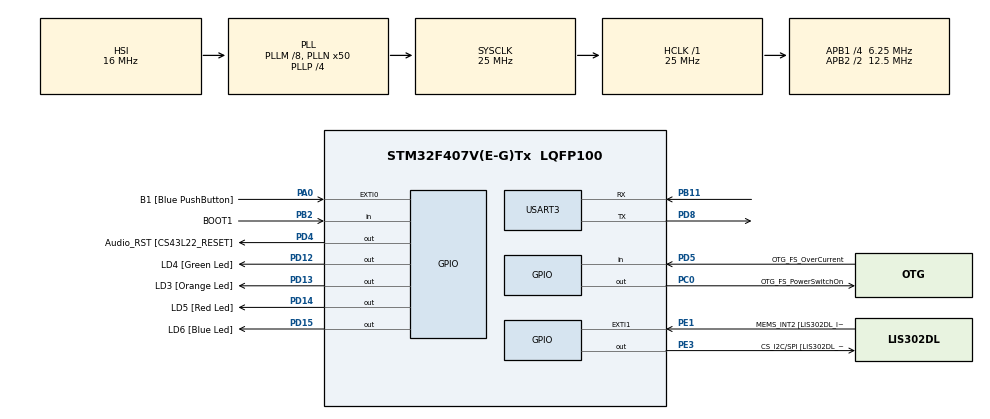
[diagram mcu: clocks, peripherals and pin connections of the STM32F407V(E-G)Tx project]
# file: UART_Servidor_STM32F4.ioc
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Dma.Request0=USART3_RX
Dma.Request1=USART3_TX
Dma.USART3_RX.0.Direction=DMA_PERIPH_TO_MEMORY
Dma.USART3_RX.0.FIFOMode=DMA_FIFOMODE_DISABLE
Dma.USART3_RX.0.Instance=DMA1_Stream1
Dma.USART3_RX.0.MemDataAlignment=DMA_MDATAALIGN_BYTE
Dma.USART3_RX.0.MemInc=DMA_MINC_ENABLE
Dma.USART3_RX.0.Mode=DMA_NORMAL
Dma.USART3_RX.0.PeriphDataAlignment=DMA_PDATAALIGN_BYTE
Dma.USART3_RX.0.PeriphInc=DMA_PINC_DISABLE
Dma.USART3_RX.0.Priority=DMA_PRIORITY_LOW
Dma.USART3_TX.1.Direction=DMA_MEMORY_TO_PERIPH
Dma.USART3_TX.1.FIFOMode=DMA_FIFOMODE_DISABLE
Dma.USART3_TX.1.Instance=DMA1_Stream3
Dma.USART3_TX.1.MemDataAlignment=DMA_MDATAALIGN_BYTE
Dma.USART3_TX.1.MemInc=DMA_MINC_ENABLE
Dma.USART3_TX.1.Mode=DMA_NORMAL
Dma.USART3_TX.1.PeriphDataAlignment=DMA_PDATAALIGN_BYTE
Dma.USART3_TX.1.PeriphInc=DMA_PINC_DISABLE
Dma.USART3_TX.1.Priority=DMA_PRIORITY_LOW
Mcu.Family=STM32F4
Mcu.Name=STM32F407V(E-G)Tx
Mcu.Package=LQFP100
NVIC.DMA1_Stream1_IRQn=true\:0\:0\:false\:false\:true\:false\:true\:true
NVIC.DMA1_Stream3_IRQn=true\:0\:0\:false\:false\:true\:false\:true\:true
NVIC.EXTI0_IRQn=true\:0\:0\:false\:false\:true\:true\:true\:true
NVIC.PriorityGroup=NVIC_PRIORITYGROUP_0
NVIC.USART3_IRQn=true\:0\:0\:false\:false\:true\:true\:true\:true
PA0-WKUP.GPIO_Label=B1 [Blue PushButton]
PA0-WKUP.GPIO_ModeDefaultEXTI=GPIO_MODE_IT_FALLING
PA0-WKUP.Signal=GPXTI0
PA10.GPIO_Label=OTG_FS_ID
PA10.GPIO_Mode=GPIO_MODE_AF_PP
PA10.GPIO_PuPd=GPIO_NOPULL
PA10.GPIO_Speed=GPIO_SPEED_FREQ_LOW
PA10.Signal=USB_OTG_FS_ID
PA11.GPIO_Label=OTG_FS_DM
PA11.GPIO_Mode=GPIO_MODE_AF_PP
PA11.GPIO_PuPd=GPIO_NOPULL
PA11.GPIO_Speed=GPIO_SPEED_FREQ_LOW
PA11.Signal=USB_OTG_FS_DM
PA12.GPIO_Label=OTG_FS_DP
PA12.GPIO_Mode=GPIO_MODE_AF_PP
PA12.GPIO_PuPd=GPIO_NOPULL
PA12.GPIO_Speed=GPIO_SPEED_FREQ_LOW
PA12.Signal=USB_OTG_FS_DP
PA13.GPIO_Label=SWDIO
PA13.Signal=SYS_JTMS-SWDIO
PA14.GPIO_Label=SWCLK
PA14.Signal=SYS_JTCK-SWCLK
PA4.GPIO_Label=I2S3_WS [CS43L22_LRCK]
PA4.GPIO_Mode=GPIO_MODE_AF_PP
PA4.GPIO_PuPd=GPIO_NOPULL
PA4.GPIO_Speed=GPIO_SPEED_FREQ_LOW
PA4.Signal=I2S3_WS
PA5.GPIO_Label=SPI1_SCK [LIS302DL_SCL/SPC]
PA5.GPIO_Mode=GPIO_MODE_AF_PP
PA5.GPIO_PuPd=GPIO_NOPULL
PA5.GPIO_Speed=GPIO_SPEED_FREQ_LOW
PA5.Signal=SPI1_SCK
PA6.GPIO_Label=SPI1_MISO [LIS302DL_SDO]
PA6.GPIO_Mode=GPIO_MODE_AF_PP
PA6.GPIO_PuPd=GPIO_NOPULL
PA6.GPIO_Speed=GPIO_SPEED_FREQ_LOW
PA6.Signal=SPI1_MISO
PA7.GPIO_Label=SPI1_MOSI [LIS302DL_SDA/SDI/SDO]
PA7.GPIO_Mode=GPIO_MODE_AF_PP
PA7.GPIO_PuPd=GPIO_NOPULL
PA7.GPIO_Speed=GPIO_SPEED_FREQ_LOW
PA7.Signal=SPI1_MOSI
PA9.GPIO_Label=VBUS_FS
PA9.GPIO_Mode=GPIO_MODE_INPUT
PA9.GPIO_PuPd=GPIO_NOPULL
PA9.Signal=USB_OTG_FS_VBUS
PB10.GPIO_Label=CLK_IN [MP45DT02_CLK]
PB10.GPIO_Mode=GPIO_MODE_AF_PP
PB10.GPIO_PuPd=GPIO_NOPULL
PB10.GPIO_Speed=GPIO_SPEED_FREQ_LOW
PB10.Signal=I2S2_CK
PB11.Mode=Asynchronous
PB11.Signal=USART3_RX
PB2.GPIO_Label=BOOT1
PB2.GPIO_Mode=GPIO_MODE_INPUT
PB2.GPIO_PuPd=GPIO_NOPULL
PB2.Signal=GPIO_Input
PB3.GPIO_Label=SWO
PB3.Signal=SYS_JTDO-SWO
PB6.GPIO_Label=Audio_SCL [CS43L22_SCL]
PB6.GPIO_Mode=GPIO_MODE_AF_OD
PB6.GPIO_PuPd=GPIO_NOPULL
PB6.GPIO_Speed=GPIO_SPEED_FREQ_LOW
PB6.Signal=I2C1_SCL
PB9.GPIO_Label=Audio_SDA [CS43L22_SDA]
PB9.GPIO_Mode=GPIO_MODE_AF_OD
PB9.GPIO_PuPd=GPIO_NOPULL
PB9.GPIO_Speed=GPIO_SPEED_FREQ_LOW
PB9.Signal=I2C1_SDA
PC0.GPIO_Label=OTG_FS_PowerSwitchOn
PC0.GPIO_PuPd=GPIO_NOPULL
PC0.GPIO_Speed=GPIO_SPEED_FREQ_LOW
PC0.PinState=GPIO_PIN_SET
PC0.Signal=GPIO_Output
PC10.GPIO_Label=I2S3_SCK [CS43L22_SCLK]
PC10.GPIO_Mode=GPIO_MODE_AF_PP
PC10.GPIO_PuPd=GPIO_NOPULL
PC10.GPIO_Speed=GPIO_SPEED_FREQ_LOW
PC10.Signal=I2S3_CK
PC12.GPIO_Label=I2S3_SD [CS43L22_SDIN]
PC12.GPIO_Mode=GPIO_MODE_AF_PP
PC12.GPIO_PuPd=GPIO_NOPULL
PC12.GPIO_Speed=GPIO_SPEED_FREQ_LOW
PC12.Signal=I2S3_SD
PC14-OSC32_IN.GPIO_Label=PC14-OSC32_IN
PC14-OSC32_IN.Signal=RCC_OSC32_IN
PC15-OSC32_OUT.GPIO_Label=PC15-OSC32_OUT
PC15-OSC32_OUT.Signal=RCC_OSC32_OUT
PC3.GPIO_Label=PDM_OUT [MP45DT02_DOUT]
PC3.GPIO_Mode=GPIO_MODE_AF_PP
PC3.GPIO_PuPd=GPIO_NOPULL
PC3.GPIO_Speed=GPIO_SPEED_FREQ_LOW
PC3.Signal=I2S2_SD
PC7.GPIO_Label=I2S3_MCK [CS43L22_MCLK]
PC7.GPIO_Mode=GPIO_MODE_AF_PP
PC7.GPIO_PuPd=GPIO_NOPULL
PC7.GPIO_Speed=GPIO_SPEED_FREQ_LOW
PC7.Signal=I2S3_MCK
PD12.GPIO_Label=LD4 [Green Led]
PD12.GPIO_PuPd=GPIO_NOPULL
PD12.GPIO_Speed=GPIO_SPEED_FREQ_VERY_HIGH
PD12.Signal=GPIO_Output
PD13.GPIO_Label=LD3 [Orange Led]
PD13.GPIO_PuPd=GPIO_NOPULL
PD13.GPIO_Speed=GPIO_SPEED_FREQ_LOW
PD13.Signal=GPIO_Output
PD14.GPIO_Label=LD5 [Red Led]
PD14.GPIO_PuPd=GPIO_NOPULL
PD14.GPIO_Speed=GPIO_SPEED_FREQ_VERY_HIGH
PD14.Signal=GPIO_Output
PD15.GPIO_Label=LD6 [Blue Led]
PD15.GPIO_PuPd=GPIO_NOPULL
PD15.GPIO_Speed=GPIO_SPEED_FREQ_LOW
PD15.Signal=GPIO_Output
PD4.GPIO_Label=Audio_RST [CS43L22_RESET]
PD4.GPIO_PuPd=GPIO_NOPULL
PD4.GPIO_Speed=GPIO_SPEED_FREQ_LOW
PD4.Signal=GPIO_Output
PD5.GPIO_Label=OTG_FS_OverCurrent
PD5.GPIO_Mode=GPIO_MODE_INPUT
PD5.GPIO_PuPd=GPIO_NOPULL
PD5.Signal=GPIO_Input
PD8.Mode=Asynchronous
PD8.Signal=USART3_TX
PE1.GPIO_Label=MEMS_INT2 [LIS302DL_INT2]
PE1.GPIO_ModeDefaultEXTI=GPIO_MODE_EVT_RISING
PE1.GPIO_PuPd=GPIO_NOPULL
PE1.Signal=GPXTI1
PE3.GPIO_Label=CS_I2C/SPI [LIS302DL_CS_I2C/SPI]
PE3.GPIO_PuPd=GPIO_NOPULL
PE3.GPIO_Speed=GPIO_SPEED_FREQ_LOW
PE3.Signal=GPIO_Output
PH0-OSC_IN.GPIO_Label=PH0-OSC_IN
PH0-OSC_IN.Signal=RCC_OSC_IN
PH1-OSC_OUT.GPIO_Label=PH1-OSC_OUT
PH1-OSC_OUT.Signal=RCC_OSC_OUT
ProjectManager.HeapSize=0x200
ProjectManager.StackSize=0x400
ProjectManager.TargetToolchain=STM32CubeIDE
RCC.48MHZClocksFreq_Value=14285714.285714285
RCC.AHBFreq_Value=25000000
RCC.APB1CLKDivider=RCC_HCLK_DIV4
RCC.APB1Freq_Value=6250000
RCC.APB1TimFreq_Value=12500000
RCC.APB2CLKDivider=RCC_HCLK_DIV2
RCC.APB2Freq_Value=12500000
RCC.APB2TimFreq_Value=25000000
RCC.CortexFreq_Value=25000000
RCC.HCLKFreq_Value=25000000
RCC.HSE_VALUE=8000000
RCC.HSI_VALUE=16000000
RCC.LSE_VALUE=32768
RCC.PLLM=8
RCC.PLLN=50
RCC.PLLP=RCC_PLLP_DIV4
RCC.PLLQ=7
RCC.SYSCLKFreq_VALUE=25000000
RCC.SYSCLKSource=RCC_SYSCLKSOURCE_PLLCLK
RCC.VCOOutputFreq_Value=100000000
USART3.VirtualMode=VM_ASYNC
board=STM32F407G-DISC1

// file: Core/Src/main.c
/* USER CODE BEGIN Header */
/**
  ******************************************************************************
  * @file           : main.c
  * @brief          : Main program body
  ******************************************************************************
  * @attention
  *
  * Copyright (c) 2025 STMicroelectronics.
  * All rights reserved.
  *
  * This software is licensed under terms that can be found in the LICENSE file
  * in the root directory of this software component.
  * If no LICENSE file comes with this software, it is provided AS-IS.
  *
  ******************************************************************************
  */
/* USER CODE END Header */
#include "main.h"

/* USER CODE BEGIN Includes */
#include <stdio.h>
#include <stdbool.h>
#include <string.h>
/* USER CODE END Includes */

UART_HandleTypeDef huart3;
DMA_HandleTypeDef hdma_usart3_rx;
DMA_HandleTypeDef hdma_usart3_tx;

/* USER CODE BEGIN PV */
bool buttonPressed = false;
volatile bool sendData = false;
volatile bool isSent = false;
volatile bool dmaWorking = false;
volatile uint8_t buttonPressed_count = 0;
volatile uint8_t interrupt_sent_count = 0;

char tx_buffer[32];
char rx_buffer[32];
volatile uint8_t rx_byte = 0;

volatile uint8_t current_state = 0;
uint32_t last_interrupt_time = 0;
const uint32_t debounce_delay = 200;
char *tabela_equipe[] = {
    "Mayanne, 010203",
    "Sofia, 040506",
    "Arthur, 070809"
};
char dma_buffer[128];
/* USER CODE END PV */

void SystemClock_Config(void);
static void MX_GPIO_Init(void);
static void MX_DMA_Init(void);
static void MX_USART3_UART_Init(void);

int main(void)
{

  /* MCU Configuration--------------------------------------------------------*/

  /* Reset of all peripherals, Initializes the Flash interface and the Systick. */
  HAL_Init();

  /* Configure the system clock */
  SystemClock_Config();

  /* Initialize all configured peripherals */
  MX_GPIO_Init();
  MX_DMA_Init();
  MX_USART3_UART_Init();
  /* USER CODE BEGIN 2 */
  HAL_UART_Receive_IT(&huart3, (uint8_t *)&rx_byte, 1);
  /* USER CODE END 2 */

  /* Infinite loop */
  /* USER CODE BEGIN WHILE */
  while(1)
  {
	  if (buttonPressed) {
		  buttonPressed = false;
		  buttonPressed_count += 1;
	  }

	  if (sendData) {
		  if(interrupt_sent_count==0){
			  uint8_t times_pressed = buttonPressed_count;
			  buttonPressed_count = 0;
			  HAL_UART_Transmit_IT(&huart3, &times_pressed, 1);
		  }
		  else if(interrupt_sent_count == 1 && isSent && !dmaWorking){
			  int len = snprintf(dma_buffer, sizeof(dma_buffer), "%s\r\n%s\r\n%s\r\n", tabela_equipe[0], tabela_equipe[1], tabela_equipe[2]);
			  if (len > 0) {
				dmaWorking = true;
				isSent = false;
				HAL_UART_Transmit_DMA(&huart3, (uint8_t *)dma_buffer, (uint16_t)len);
			  } else {
				  sendData = false;
				  interrupt_sent_count = 0;
			  }
		  }
	  }

    /* USER CODE END WHILE */

  }
}

void SystemClock_Config(void)
{
  RCC_OscInitTypeDef RCC_OscInitStruct = {0};
  RCC_ClkInitTypeDef RCC_ClkInitStruct = {0};

  /** Configure the main internal regulator output voltage
  */
  __HAL_RCC_PWR_CLK_ENABLE();
  __HAL_PWR_VOLTAGESCALING_CONFIG(PWR_REGULATOR_VOLTAGE_SCALE1);

  /** Initializes the RCC Oscillators according to the specified parameters
  * in the RCC_OscInitTypeDef structure.
  */
  RCC_OscInitStruct.OscillatorType = RCC_OSCILLATORTYPE_HSI;
  RCC_OscInitStruct.HSIState = RCC_HSI_ON;
  RCC_OscInitStruct.HSICalibrationValue = RCC_HSICALIBRATION_DEFAULT;
  RCC_OscInitStruct.PLL.PLLState = RCC_PLL_ON;
  RCC_OscInitStruct.PLL.PLLSource = RCC_PLLSOURCE_HSI;
  RCC_OscInitStruct.PLL.PLLM = 8;
  RCC_OscInitStruct.PLL.PLLN = 50;
  RCC_OscInitStruct.PLL.PLLP = RCC_PLLP_DIV4;
  RCC_OscInitStruct.PLL.PLLQ = 7;
  if (HAL_RCC_OscConfig(&RCC_OscInitStruct) != HAL_OK)
  {
    Error_Handler();
  }

  /** Initializes the CPU, AHB and APB buses clocks
  */
  RCC_ClkInitStruct.ClockType = RCC_CLOCKTYPE_HCLK|RCC_CLOCKTYPE_SYSCLK
                              |RCC_CLOCKTYPE_PCLK1|RCC_CLOCKTYPE_PCLK2;
  RCC_ClkInitStruct.SYSCLKSource = RCC_SYSCLKSOURCE_PLLCLK;
  RCC_ClkInitStruct.AHBCLKDivider = RCC_SYSCLK_DIV1;
  RCC_ClkInitStruct.APB1CLKDivider = RCC_HCLK_DIV4;
  RCC_ClkInitStruct.APB2CLKDivider = RCC_HCLK_DIV2;

  if (HAL_RCC_ClockConfig(&RCC_ClkInitStruct, FLASH_LATENCY_0) != HAL_OK)
  {
    Error_Handler();
  }
}

static void MX_USART3_UART_Init(void)
{

  huart3.Instance = USART3;
  huart3.Init.BaudRate = 115200;
  huart3.Init.WordLength = UART_WORDLENGTH_8B;
  huart3.Init.StopBits = UART_STOPBITS_1;
  huart3.Init.Parity = UART_PARITY_NONE;
  huart3.Init.Mode = UART_MODE_TX_RX;
  huart3.Init.HwFlowCtl = UART_HWCONTROL_NONE;
  huart3.Init.OverSampling = UART_OVERSAMPLING_16;
  if (HAL_UART_Init(&huart3) != HAL_OK)
  {
    Error_Handler();
  }

}

static void MX_DMA_Init(void)
{

  /* DMA controller clock enable */
  __HAL_RCC_DMA1_CLK_ENABLE();

  /* DMA interrupt init */
  /* DMA1_Stream1_IRQn interrupt configuration */
  HAL_NVIC_SetPriority(DMA1_Stream1_IRQn, 0, 0);
  HAL_NVIC_EnableIRQ(DMA1_Stream1_IRQn);
  /* DMA1_Stream3_IRQn interrupt configuration */
  HAL_NVIC_SetPriority(DMA1_Stream3_IRQn, 0, 0);
  HAL_NVIC_EnableIRQ(DMA1_Stream3_IRQn);

}

static void MX_GPIO_Init(void)
{
  GPIO_InitTypeDef GPIO_InitStruct = {0};

  /* GPIO Ports Clock Enable */
  __HAL_RCC_GPIOE_CLK_ENABLE();
  __HAL_RCC_GPIOC_CLK_ENABLE();
  __HAL_RCC_GPIOH_CLK_ENABLE();
  __HAL_RCC_GPIOA_CLK_ENABLE();
  __HAL_RCC_GPIOB_CLK_ENABLE();
  __HAL_RCC_GPIOD_CLK_ENABLE();

  /*Configure GPIO pin Output Level */
  HAL_GPIO_WritePin(CS_I2C_SPI_GPIO_Port, CS_I2C_SPI_Pin, GPIO_PIN_RESET);

  /*Configure GPIO pin Output Level */
  HAL_GPIO_WritePin(OTG_FS_PowerSwitchOn_GPIO_Port, OTG_FS_PowerSwitchOn_Pin, GPIO_PIN_SET);

  /*Configure GPIO pin Output Level */
  HAL_GPIO_WritePin(GPIOD, LD4_Pin|LD3_Pin|LD5_Pin|LD6_Pin
                          |Audio_RST_Pin, GPIO_PIN_RESET);

  /*Configure GPIO pin : CS_I2C_SPI_Pin */
  GPIO_InitStruct.Pin = CS_I2C_SPI_Pin;
  GPIO_InitStruct.Mode = GPIO_MODE_OUTPUT_PP;
  GPIO_InitStruct.Pull = GPIO_NOPULL;
  GPIO_InitStruct.Speed = GPIO_SPEED_FREQ_LOW;
  HAL_GPIO_Init(CS_I2C_SPI_GPIO_Port, &GPIO_InitStruct);

  /*Configure GPIO pin : OTG_FS_PowerSwitchOn_Pin */
  GPIO_InitStruct.Pin = OTG_FS_PowerSwitchOn_Pin;
  GPIO_InitStruct.Mode = GPIO_MODE_OUTPUT_PP;
  GPIO_InitStruct.Pull = GPIO_NOPULL;
  GPIO_InitStruct.Speed = GPIO_SPEED_FREQ_LOW;
  HAL_GPIO_Init(OTG_FS_PowerSwitchOn_GPIO_Port, &GPIO_InitStruct);

  /*Configure GPIO pin : PDM_OUT_Pin */
  GPIO_InitStruct.Pin = PDM_OUT_Pin;
  GPIO_InitStruct.Mode = GPIO_MODE_AF_PP;
  GPIO_InitStruct.Pull = GPIO_NOPULL;
  GPIO_InitStruct.Speed = GPIO_SPEED_FREQ_LOW;
  GPIO_InitStruct.Alternate = GPIO_AF5_SPI2;
  HAL_GPIO_Init(PDM_OUT_GPIO_Port, &GPIO_InitStruct);

  /*Configure GPIO pin : B1_Pin */
  GPIO_InitStruct.Pin = B1_Pin;
  GPIO_InitStruct.Mode = GPIO_MODE_IT_FALLING;
  GPIO_InitStruct.Pull = GPIO_NOPULL;
  HAL_GPIO_Init(B1_GPIO_Port, &GPIO_InitStruct);

  /*Configure GPIO pin : I2S3_WS_Pin */
  GPIO_InitStruct.Pin = I2S3_WS_Pin;
  GPIO_InitStruct.Mode = GPIO_MODE_AF_PP;
  GPIO_InitStruct.Pull = GPIO_NOPULL;
  GPIO_InitStruct.Speed = GPIO_SPEED_FREQ_LOW;
  GPIO_InitStruct.Alternate = GPIO_AF6_SPI3;
  HAL_GPIO_Init(I2S3_WS_GPIO_Port, &GPIO_InitStruct);

  /*Configure GPIO pins : SPI1_SCK_Pin SPI1_MISO_Pin SPI1_MOSI_Pin */
  GPIO_InitStruct.Pin = SPI1_SCK_Pin|SPI1_MISO_Pin|SPI1_MOSI_Pin;
  GPIO_InitStruct.Mode = GPIO_MODE_AF_PP;
  GPIO_InitStruct.Pull = GPIO_NOPULL;
  GPIO_InitStruct.Speed = GPIO_SPEED_FREQ_LOW;
  GPIO_InitStruct.Alternate = GPIO_AF5_SPI1;
  HAL_GPIO_Init(GPIOA, &GPIO_InitStruct);

  /*Configure GPIO pin : BOOT1_Pin */
  GPIO_InitStruct.Pin = BOOT1_Pin;
  GPIO_InitStruct.Mode = GPIO_MODE_INPUT;
  GPIO_InitStruct.Pull = GPIO_NOPULL;
  HAL_GPIO_Init(BOOT1_GPIO_Port, &GPIO_InitStruct);

  /*Configure GPIO pin : CLK_IN_Pin */
  GPIO_InitStruct.Pin = CLK_IN_Pin;
  GPIO_InitStruct.Mode = GPIO_MODE_AF_PP;
  GPIO_InitStruct.Pull = GPIO_NOPULL;
  GPIO_InitStruct.Speed = GPIO_SPEED_FREQ_LOW;
  GPIO_InitStruct.Alternate = GPIO_AF5_SPI2;
  HAL_GPIO_Init(CLK_IN_GPIO_Port, &GPIO_InitStruct);

  /*Configure GPIO pins : LD4_Pin LD5_Pin */
  GPIO_InitStruct.Pin = LD4_Pin|LD5_Pin;
  GPIO_InitStruct.Mode = GPIO_MODE_OUTPUT_PP;
  GPIO_InitStruct.Pull = GPIO_NOPULL;
  GPIO_InitStruct.Speed = GPIO_SPEED_FREQ_VERY_HIGH;
  HAL_GPIO_Init(GPIOD, &GPIO_InitStruct);

  /*Configure GPIO pins : LD3_Pin LD6_Pin Audio_RST_Pin */
  GPIO_InitStruct.Pin = LD3_Pin|LD6_Pin|Audio_RST_Pin;
  GPIO_InitStruct.Mode = GPIO_MODE_OUTPUT_PP;
  GPIO_InitStruct.Pull = GPIO_NOPULL;
  GPIO_InitStruct.Speed = GPIO_SPEED_FREQ_LOW;
  HAL_GPIO_Init(GPIOD, &GPIO_InitStruct);

  /*Configure GPIO pins : I2S3_MCK_Pin I2S3_SCK_Pin I2S3_SD_Pin */
  GPIO_InitStruct.Pin = I2S3_MCK_Pin|I2S3_SCK_Pin|I2S3_SD_Pin;
  GPIO_InitStruct.Mode = GPIO_MODE_AF_PP;
  GPIO_InitStruct.Pull = GPIO_NOPULL;
  GPIO_InitStruct.Speed = GPIO_SPEED_FREQ_LOW;
  GPIO_InitStruct.Alternate = GPIO_AF6_SPI3;
  HAL_GPIO_Init(GPIOC, &GPIO_InitStruct);

  /*Configure GPIO pin : VBUS_FS_Pin */
  GPIO_InitStruct.Pin = VBUS_FS_Pin;
  GPIO_InitStruct.Mode = GPIO_MODE_INPUT;
  GPIO_InitStruct.Pull = GPIO_NOPULL;
  HAL_GPIO_Init(VBUS_FS_GPIO_Port, &GPIO_InitStruct);

  /*Configure GPIO pins : OTG_FS_ID_Pin OTG_FS_DM_Pin OTG_FS_DP_Pin */
  GPIO_InitStruct.Pin = OTG_FS_ID_Pin|OTG_FS_DM_Pin|OTG_FS_DP_Pin;
  GPIO_InitStruct.Mode = GPIO_MODE_AF_PP;
  GPIO_InitStruct.Pull = GPIO_NOPULL;
  GPIO_InitStruct.Speed = GPIO_SPEED_FREQ_LOW;
  GPIO_InitStruct.Alternate = GPIO_AF10_OTG_FS;
  HAL_GPIO_Init(GPIOA, &GPIO_InitStruct);

  /*Configure GPIO pin : OTG_FS_OverCurrent_Pin */
  GPIO_InitStruct.Pin = OTG_FS_OverCurrent_Pin;
  GPIO_InitStruct.Mode = GPIO_MODE_INPUT;
  GPIO_InitStruct.Pull = GPIO_NOPULL;
  HAL_GPIO_Init(OTG_FS_OverCurrent_GPIO_Port, &GPIO_InitStruct);

  /*Configure GPIO pins : Audio_SCL_Pin Audio_SDA_Pin */
  GPIO_InitStruct.Pin = Audio_SCL_Pin|Audio_SDA_Pin;
  GPIO_InitStruct.Mode = GPIO_MODE_AF_OD;
  GPIO_InitStruct.Pull = GPIO_NOPULL;
  GPIO_InitStruct.Speed = GPIO_SPEED_FREQ_LOW;
  GPIO_InitStruct.Alternate = GPIO_AF4_I2C1;
  HAL_GPIO_Init(GPIOB, &GPIO_InitStruct);

  /*Configure GPIO pin : MEMS_INT2_Pin */
  GPIO_InitStruct.Pin = MEMS_INT2_Pin;
  GPIO_InitStruct.Mode = GPIO_MODE_EVT_RISING;
  GPIO_InitStruct.Pull = GPIO_NOPULL;
  HAL_GPIO_Init(MEMS_INT2_GPIO_Port, &GPIO_InitStruct);

  /* EXTI interrupt init*/
  HAL_NVIC_SetPriority(EXTI0_IRQn, 0, 0);
  HAL_NVIC_EnableIRQ(EXTI0_IRQn);

}

/* USER CODE BEGIN 4 */
void HAL_GPIO_EXTI_Callback(uint16_t GPIO_Pin)
{
    if (GPIO_Pin == GPIO_PIN_0) {
        uint32_t current_time = HAL_GetTick();
        if (current_time - last_interrupt_time >= debounce_delay) {
            current_state = !current_state;
            buttonPressed = true;
            HAL_GPIO_WritePin(GPIOD, GPIO_PIN_12, (GPIO_PinState)current_state);
        }
        last_interrupt_time = current_time;
    }
}

void HAL_UART_TxCpltCallback(UART_HandleTypeDef *huart)
{
    if (huart->Instance == USART3)
    {
        if (dmaWorking) {
        	dmaWorking= false;
            isSent = true;
            interrupt_sent_count = 0;
            sendData = false;
        } else {
            isSent = true;
            interrupt_sent_count = 1;
        }
    }
}

void HAL_UART_RxCpltCallback(UART_HandleTypeDef *huart)
{
  if (huart->Instance == USART3)
  {
    if (rx_byte == 0x5A) {
    	sendData = true;
    }
    HAL_UART_Receive_IT(&huart3, (uint8_t *)&rx_byte, 1);
  }
}
/* USER CODE END 4 */

void Error_Handler(void)
{
  __disable_irq();
  while (1)
  {
  }
}
